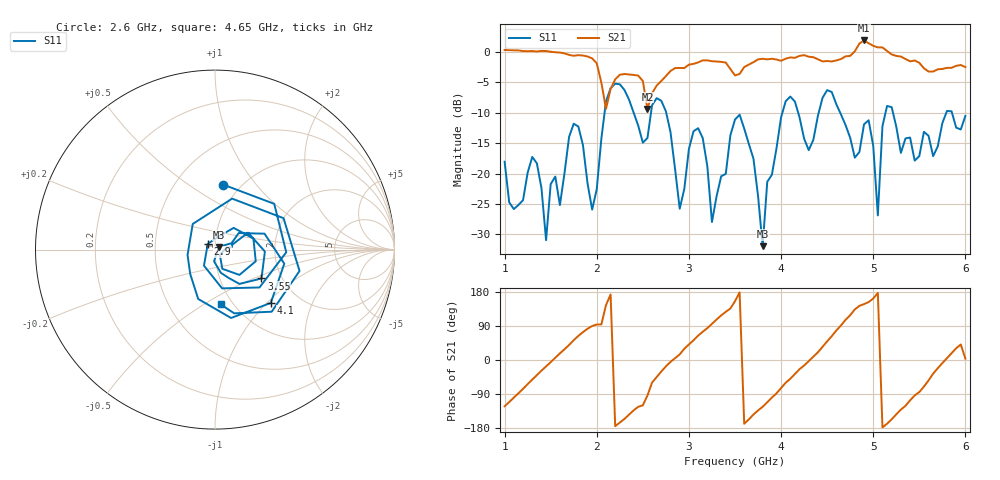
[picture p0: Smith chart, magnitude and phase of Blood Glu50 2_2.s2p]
! NanoVNA-App
! Date: 2024-03-20 20:50:51
! Start: 1GHz Stop: 6GHz Points: 101
! S-Parameter data: F S11 S21 S12 S22
# Hz S RI R 50
!	Frequency	S11_Real	S11_Imag	S21_Real	S21_Imag	S12_Real	S12_Imag	S22_Real	S22_Imag
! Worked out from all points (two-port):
!   101 points, 1 GHz to 6 GHz, reference 50 ohm
!   highest |S21| = 1.90 dB at 4.9 GHz (marker M1); lowest = -9.4 dB at 2.55 GHz (marker M2)
!   |S21| within 3 dB of the highest: start of sweep to 1.953 GHz; 4.656 GHz to 5.343 GHz (686.8 MHz wide, 13.7 % of centre)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
!   lowest |S11| = -31.9 dB at 3.8 GHz (marker M3), VSWR 1.05, Z = 52.1 + j1.54 ohm
!   |S11| at or under -10 dB: start of sweep to 2.085 GHz; 2.754 GHz to 4.014 GHz (1.26 GHz wide, 37.2 % of centre); 5.215 GHz to 5.792 GHz (577.9 MHz wide, 10.5 % of centre)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
!   S12 and S22 are empty: the file has one direction only
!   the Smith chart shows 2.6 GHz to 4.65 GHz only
!   S11 on the Smith chart (normalised r, x): 2.6 GHz: 0.83, +0.69; 2.9 GHz: 0.92, +0.06; 3.55 GHz: 1.58, -0.56; 4.1 GHz: 1.45, -1.06; 4.65 GHz: 0.88, -0.59
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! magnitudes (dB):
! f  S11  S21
! 1 GHz  -18.0  0.3
! 1.35 GHz  -18.3  0.1
! 1.45 GHz  -31.0  0.2
! 1.85 GHz  -15.3  -0.6
! 1.95 GHz  -25.9  -1.1
! 2.15 GHz  -6.0  -6.1
! 2.55 GHz  -14.1  -9.4
! 2.6 GHz  -8.8  -6.8
! 2.7 GHz  -8.0  -4.8
! 2.9 GHz  -25.8  -2.6
! 3.1 GHz  -12.5  -1.7
! 3.25 GHz  -28.0  -1.5
! 3.5 GHz  -11.1  -3.9
! 3.55 GHz  -10.3  -3.6
! 3.8 GHz  -31.9  -1.1
! 4.1 GHz  -7.3  -0.9
! 4.35 GHz  -14.5  -0.9
! 4.65 GHz  -10.3  -1.2
! 4.9 GHz  -11.9  1.9
! 5.05 GHz  -26.9  0.8
! 5.2 GHz  -9.1  -0.4
! 6 GHz  -10.5  -2.5
